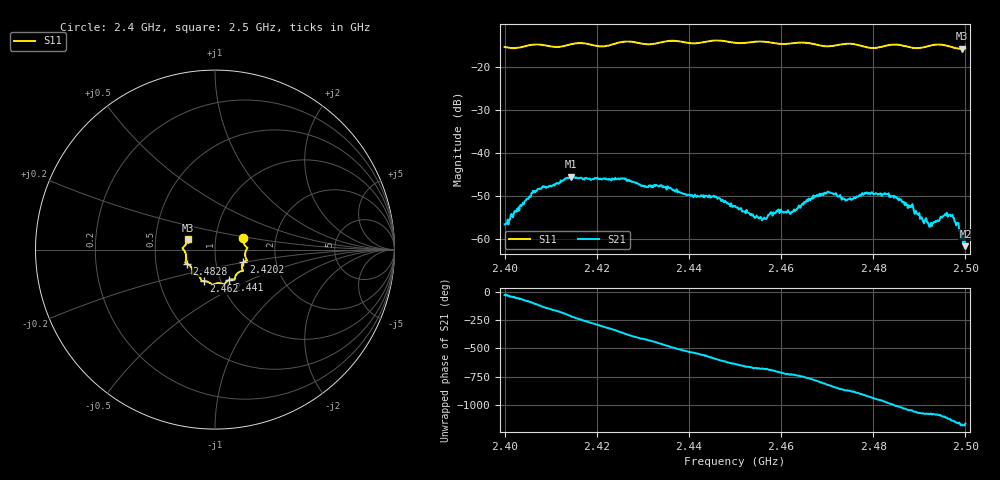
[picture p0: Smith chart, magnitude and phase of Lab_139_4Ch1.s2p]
# Hz S RI R 50
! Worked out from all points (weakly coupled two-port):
!   601 points, 2.4 GHz to 2.5 GHz, reference 50 ohm
!   highest |S21| = -45.56 dB at 2.4143 GHz (marker M1); lowest = -61.7 dB at 2.5 GHz (marker M2)
!   lowest |S11| = -15.8 dB at 2.4993 GHz (marker M3), VSWR 1.39, Z = 36.5 + j3.86 ohm
!   |S11| at or under -10 dB: start of sweep to end of sweep
!   S12 and S22 are empty: the file has one direction only
!   S11 on the Smith chart (normalised r, x): 2.4 GHz: 1.36, +0.18; 2.4202 GHz: 1.36, -0.20; 2.441 GHz: 1.10, -0.39; 2.462 GHz: 0.84, -0.30; 2.4828 GHz: 0.72, -0.12; 2.5 GHz: 0.73, +0.09
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2.4e9  0.1573 0.063  0.00131 -0.000678  0 0  0 0
2.406333e9  0.1802 0.0114  -0.000676 -0.00341  0 0  0 0
2.414333e9  0.1741 -0.0516  -0.00451 0.00273  0 0  0 0
2.416667e9  0.1779 -0.06  -0.00213 0.00468  0 0  0 0
2.420167e9  0.1582 -0.0708  0.00182 0.00479  0 0  0 0
2.433333e9  0.1124 -0.1513  -0.000177 -0.00411  0 0  0 0
2.441e9  0.0782 -0.1695  -0.00304 -0.000158  0 0  0 0
2.4455e9  0.052 -0.1941  -0.00207 0.00228  0 0  0 0
2.45e9  0.0284 -0.1872  0.000247 0.00241  0 0  0 0
2.456333e9  -0.0163 -0.1946  0.00139 0.0011  0 0  0 0
2.4595e9  -0.0364 -0.1809  0.00215 0.000382  0 0  0 0
2.462e9  -0.0605 -0.1756  0.0019 -0.000416  0 0  0 0
2.466667e9  -0.0778 -0.1682  0.00188 -0.00233  0 0  0 0
2.470333e9  -0.098 -0.1417  -0.00078 -0.00341  0 0  0 0
2.474e9  -0.1249 -0.1356  -0.00239 -0.00141  0 0  0 0
2.482833e9  -0.1576 -0.0775  -0.000769 0.00325  0 0  0 0
2.483333e9  -0.1606 -0.0762  -0.000385 0.00337  0 0  0 0
2.488167e9  -0.1601 -0.0475  0.00192 0.00132  0 0  0 0
2.492167e9  -0.1749 -0.000889  0.00138 2.58e-06  0 0  0 0
2.497e9  -0.1676 0.023  0.00103 -0.00153  0 0  0 0
2.499333e9  -0.1531 0.0514  -9.09e-05 -0.00106  0 0  0 0
2.5e9  -0.1517 0.0611  7.52e-05 -0.00082  0 0  0 0
